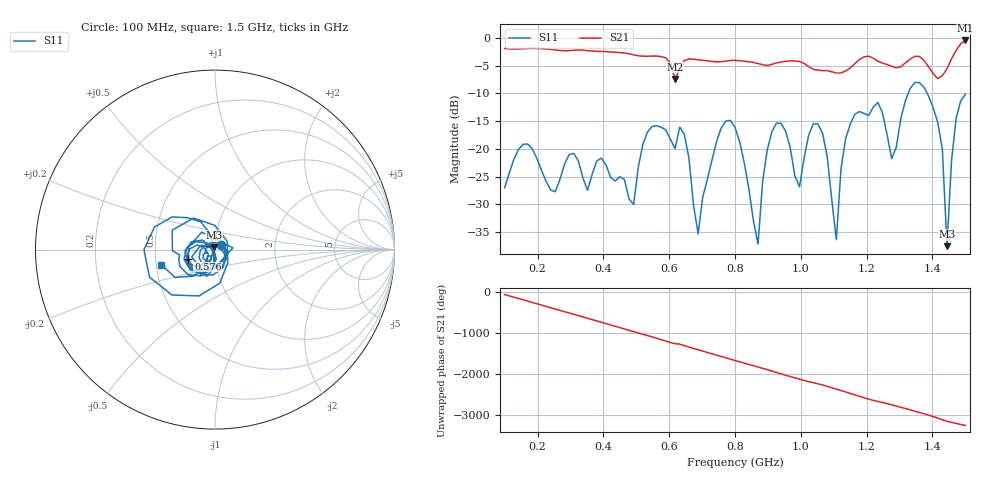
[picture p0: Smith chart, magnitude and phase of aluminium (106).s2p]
! NanoVNA-App
! Date: 2025-09-25 14:56:06
! Start: 100MHz Stop: 1,5GHz Points: 101
! S-Parameter data: F S11 S21 S12 S22
# Hz S RI R 50
!  Frequency  S11_Real  S11_Imag  S21_Real  S21_Imag  S12_Real  S12_Imag  S22_Real  S22_Imag
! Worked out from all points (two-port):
!   101 points, 100 MHz to 1.5 GHz, reference 50 ohm
!   highest |S21| = -0.47 dB at 1.5 GHz (marker M1); lowest = -7.4 dB at 618 MHz (marker M2)
!   |S21| within 3 dB of the highest: start of sweep to 581.1 MHz; 1.461 GHz to end of sweep (the widest 2 of 4)
!   lowest |S11| = -37.5 dB at 1.444 GHz (marker M3), VSWR 1.03, Z = 49.5 + j1.22 ohm
!   |S11| at or under -10 dB: start of sweep to 1.326 GHz; 1.384 GHz to end of sweep
!   S12 and S22 are empty: the file has one direction only
!   S11 on the Smith chart (normalised r, x): 100 MHz: 1.07, +0.06; 576 MHz: 0.74, -0.08; 1.5 GHz: 0.53, -0.10
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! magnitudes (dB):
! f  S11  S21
! 100 MHz  -27.0  -1.9
! 156 MHz  -19.2  -2.0
! 338 MHz  -25.2  -2.2
! 492 MHz  -30.0  -3.1
! 576 MHz  -16.1  -3.4
! 618 MHz  -20.0  -7.4
! 646 MHz  -17.4  -4.1
! 688 MHz  -35.3  -3.9
! 800 MHz  -16.1  -4.0
! 870 MHz  -37.1  -4.6
! 912 MHz  -16.9  -4.8
! 996 MHz  -26.8  -4.3
! 1.038 GHz  -15.5  -5.7
! 1.108 GHz  -36.3  -6.3
! 1.164 GHz  -13.8  -4.7
! 1.234 GHz  -11.6  -4.2
! 1.276 GHz  -21.7  -5.1
! 1.374 GHz  -8.9  -4.0
! 1.43 GHz  -20.0  -6.8
! 1.444 GHz  -37.5  -5.6
! 1.472 GHz  -14.4  -2.3
! 1.5 GHz  -10.2  -0.5
